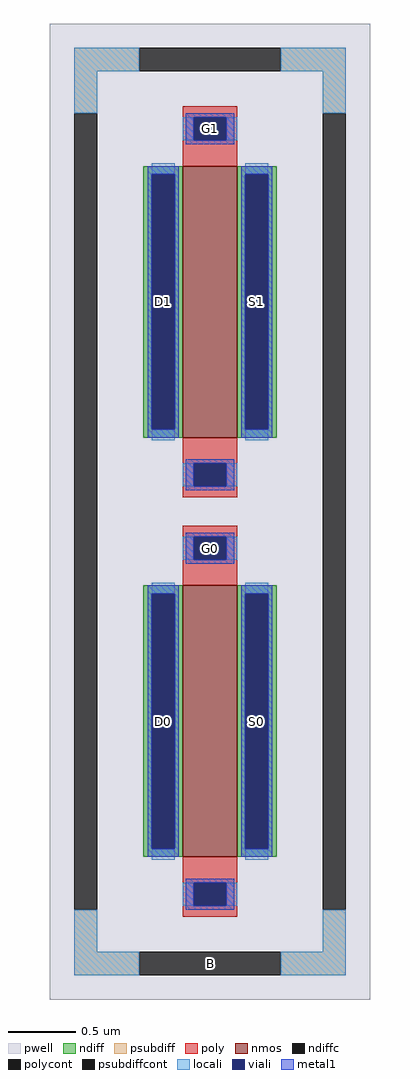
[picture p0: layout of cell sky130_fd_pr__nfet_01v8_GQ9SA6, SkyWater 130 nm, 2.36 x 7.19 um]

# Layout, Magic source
magic
tech sky130A
magscale 1 2
<< pwell >>
rect -236 -719 236 719
<< nmos >>
rect -40 109 40 509
rect -40 -509 40 -109
<< ndiff >>
rect -98 497 -40 509
rect -98 121 -86 497
rect -52 121 -40 497
rect -98 109 -40 121
rect 40 497 98 509
rect 40 121 52 497
rect 86 121 98 497
rect 40 109 98 121
rect -98 -121 -40 -109
rect -98 -497 -86 -121
rect -52 -497 -40 -121
rect -98 -509 -40 -497
rect 40 -121 98 -109
rect 40 -497 52 -121
rect 86 -497 98 -121
rect 40 -509 98 -497
<< ndiffc >>
rect -86 121 -52 497
rect 52 121 86 497
rect -86 -497 -52 -121
rect 52 -497 86 -121
<< psubdiff >>
rect -200 649 -104 683
rect 104 649 200 683
rect -200 587 -166 649
rect 166 587 200 649
rect -200 -649 -166 -587
rect 166 -649 200 -587
rect -200 -683 -104 -649
rect 104 -683 200 -649
<< psubdiffcont >>
rect -104 649 104 683
rect -200 -587 -166 587
rect 166 -587 200 587
rect -104 -683 104 -649
<< poly >>
rect -40 581 40 597
rect -40 547 -24 581
rect 24 547 40 581
rect -40 509 40 547
rect -40 71 40 109
rect -40 37 -24 71
rect 24 37 40 71
rect -40 21 40 37
rect -40 -37 40 -21
rect -40 -71 -24 -37
rect 24 -71 40 -37
rect -40 -109 40 -71
rect -40 -547 40 -509
rect -40 -581 -24 -547
rect 24 -581 40 -547
rect -40 -597 40 -581
<< polycont >>
rect -24 547 24 581
rect -24 37 24 71
rect -24 -71 24 -37
rect -24 -581 24 -547
<< locali >>
rect -200 649 -104 683
rect 104 649 200 683
rect -200 587 -166 649
rect 166 587 200 649
rect -40 547 -24 581
rect 24 547 40 581
rect -86 497 -52 513
rect -86 105 -52 121
rect 52 497 86 513
rect 52 105 86 121
rect -40 37 -24 71
rect 24 37 40 71
rect -40 -71 -24 -37
rect 24 -71 40 -37
rect -86 -121 -52 -105
rect -86 -513 -52 -497
rect 52 -121 86 -105
rect 52 -513 86 -497
rect -40 -581 -24 -547
rect 24 -581 40 -547
rect -200 -649 -166 -587
rect 166 -649 200 -587
rect -200 -683 -104 -649
rect 104 -683 200 -649
<< viali >>
rect -24 547 24 581
rect -86 121 -52 497
rect 52 121 86 497
rect -24 37 24 71
rect -24 -71 24 -37
rect -86 -497 -52 -121
rect 52 -497 86 -121
rect -24 -581 24 -547
<< metal1 >>
rect -36 581 36 587
rect -36 547 -24 581
rect 24 547 36 581
rect -36 541 36 547
rect -92 497 -46 509
rect -92 121 -86 497
rect -52 121 -46 497
rect -92 109 -46 121
rect 46 497 92 509
rect 46 121 52 497
rect 86 121 92 497
rect 46 109 92 121
rect -36 71 36 77
rect -36 37 -24 71
rect 24 37 36 71
rect -36 31 36 37
rect -36 -37 36 -31
rect -36 -71 -24 -37
rect 24 -71 36 -37
rect -36 -77 36 -71
rect -92 -121 -46 -109
rect -92 -497 -86 -121
rect -52 -497 -46 -121
rect -92 -509 -46 -497
rect 46 -121 92 -109
rect 46 -497 52 -121
rect 86 -497 92 -121
rect 46 -509 92 -497
rect -36 -547 36 -541
rect -36 -581 -24 -547
rect 24 -581 36 -547
rect -36 -587 36 -581
<< labels >>
rlabel psubdiffcont 0 -666 0 -666 0 B
port 8 nsew
rlabel ndiffc -69 -309 -69 -309 0 D0
port 9 nsew
rlabel ndiffc 69 -309 69 -309 0 S0
port 10 nsew
rlabel polycont 0 -54 0 -54 0 G0
port 11 nsew
rlabel ndiffc -69 309 -69 309 0 D1
port 12 nsew
rlabel ndiffc 69 309 69 309 0 S1
port 13 nsew
rlabel polycont 0 564 0 564 0 G1
port 14 nsew
<< properties >>
string FIXED_BBOX -183 -666 183 666
string gencell sky130_fd_pr__nfet_01v8
string library sky130
string parameters w 2.0 l 0.4 m 2 nf 1 diffcov 100 polycov 100 guard 1 glc 1 grc 1 gtc 1 gbc 1 tbcov 100 rlcov 100 topc 1 botc 1 poverlap 0 doverlap 1 lmin 0.15 wmin 0.42 class mosfet compatible {sky130_fd_pr__nfet_01v8 sky130_fd_pr__nfet_01v8_lvt  sky130_fd_bs_flash__special_sonosfet_star  sky130_fd_pr__nfet_g5v0d10v5 sky130_fd_pr__nfet_05v0_nvt  sky130_fd_pr__nfet_03v3_nvt} full_metal 1 conn_gates 0 viasrc 100 viadrn 100 viagate 100 viagb 0 viagr 0 viagl 0 viagt 0 doports 1 ad 0.58 as 0.58 pd 4.58 ps 4.58 nrd 0.145 nrs 0.145 sa 0 sb 0 sd 0 mult 2
<< end >>
